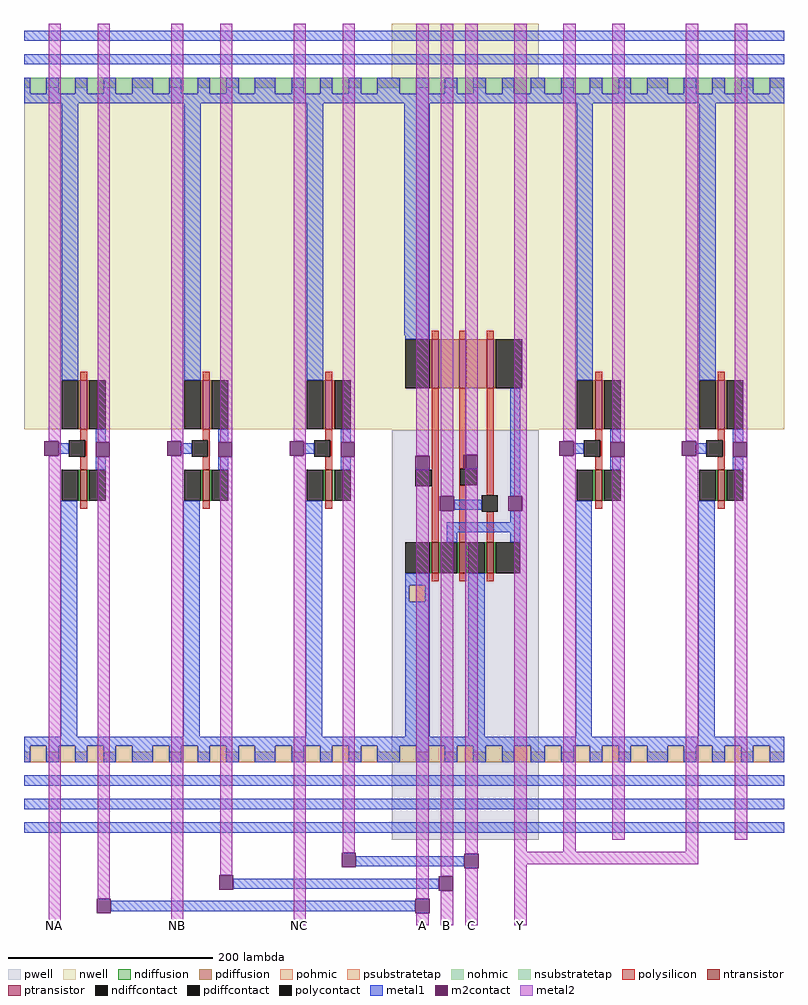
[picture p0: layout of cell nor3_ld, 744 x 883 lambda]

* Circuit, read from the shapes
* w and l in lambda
.subckt nor3_ld A B C GND! NA NB NC Vdd! Y
M1 A NA GND! VSUBS nfet w=30 l=7
M2 B NB GND! VSUBS nfet w=30 l=7
M3 C NC GND! VSUBS nfet w=30 l=7
M4 Y A GND! VSUBS nfet w=30 l=7
M5 GND! C Y VSUBS nfet w=30 l=7
M6 Y B GND! VSUBS nfet w=30 l=7
M7 inv_0/Y Y GND! VSUBS nfet w=30 l=7
M8 inv_1/Y Y GND! VSUBS nfet w=30 l=7
M9 A NA Vdd! n1 pfet w=48 l=7
M10 B NB Vdd! n1 pfet w=48 l=7
M11 C NC Vdd! n1 pfet w=48 l=7
M12 n2 A Vdd! n1 pfet w=48 l=7
M13 n3 C n2 n1 pfet w=48 l=7
M14 Y B n3 n1 pfet w=48 l=7
M15 inv_0/Y Y Vdd! n1 pfet w=48 l=7
M16 inv_1/Y Y Vdd! n1 pfet w=48 l=7
.ends

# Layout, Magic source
magic
tech c035u
<< metal1 >>
rect 325 58 431 68
rect 205 36 406 46
rect 85 14 383 24
<< m2contact >>
rect 311 57 325 71
rect 431 56 445 70
rect 191 35 205 49
rect 406 34 420 48
rect 71 12 85 26
rect 383 12 397 26
<< metal2 >>
rect 24 0 36 84
rect 72 26 84 84
rect 144 0 156 84
rect 192 49 204 84
rect 264 0 276 84
rect 312 71 324 84
rect 384 26 396 84
rect 408 48 420 84
rect 432 70 444 84
rect 480 72 492 84
rect 528 72 540 84
rect 648 72 660 84
rect 480 60 660 72
rect 384 0 396 12
rect 408 0 420 34
rect 432 0 444 56
rect 480 0 492 60
use inv inv_3
transform 1 0 0 0 1 84
box 0 0 120 799
use inv inv_4
transform 1 0 120 0 1 84
box 0 0 120 799
use inv inv_5
transform 1 0 240 0 1 84
box 0 0 120 799
use nor3 nor3_0
transform 1 0 360 0 1 84
box 0 0 144 799
use inv inv_0
transform 1 0 504 0 1 84
box 0 0 120 799
use inv inv_1
transform 1 0 624 0 1 84
box 0 0 120 799
<< labels >>
rlabel metal2 480 0 492 0 1 Y
rlabel metal2 384 0 396 0 1 A
rlabel metal2 408 0 420 0 1 B
rlabel metal2 432 0 444 0 1 C
rlabel metal2 24 0 36 0 1 NA
rlabel metal2 144 0 156 0 1 NB
rlabel metal2 264 0 276 0 1 NC
<< end >>

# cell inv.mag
magic
tech c035u
<< nwell >>
rect 0 402 120 746
<< polysilicon >>
rect 55 450 62 458
rect 55 391 62 402
rect 60 375 62 391
rect 55 362 62 375
rect 55 324 62 332
<< ndiffusion >>
rect 53 332 55 362
rect 62 332 64 362
<< pdiffusion >>
rect 53 402 55 450
rect 62 402 64 450
<< pohmic >>
rect 0 76 6 86
rect 22 76 34 86
rect 50 76 62 86
rect 78 76 90 86
rect 106 76 120 86
<< nohmic >>
rect 0 736 6 746
rect 22 736 34 746
rect 50 736 62 746
rect 78 736 90 746
rect 106 736 120 746
<< ntransistor >>
rect 55 332 62 362
<< ptransistor >>
rect 55 402 62 450
<< polycontact >>
rect 44 375 60 391
<< ndiffcontact >>
rect 37 332 53 362
rect 64 332 80 362
<< pdiffcontact >>
rect 37 402 53 450
rect 64 402 80 450
<< psubstratetap >>
rect 6 76 22 92
rect 34 76 50 92
rect 62 76 78 92
rect 90 76 106 92
<< nsubstratetap >>
rect 6 730 22 746
rect 34 730 50 746
rect 62 730 78 746
rect 90 730 106 746
<< metal1 >>
rect 0 782 120 792
rect 0 759 120 769
rect 0 730 6 746
rect 22 730 34 746
rect 50 730 62 746
rect 78 730 90 746
rect 106 730 120 746
rect 0 721 120 730
rect 37 450 53 721
rect 34 378 44 388
rect 70 389 80 402
rect 70 362 80 375
rect 36 101 52 332
rect 0 92 120 101
rect 0 76 6 92
rect 22 76 34 92
rect 50 76 62 92
rect 78 76 90 92
rect 106 76 120 92
rect 0 53 120 63
rect 0 30 120 40
rect 0 7 120 17
<< m2contact >>
rect 20 376 34 390
rect 70 375 84 389
<< metal2 >>
rect 24 390 36 799
rect 34 376 36 390
rect 72 389 84 799
rect 24 0 36 376
rect 72 0 84 375
<< labels >>
rlabel metal1 0 721 0 746 7 Vdd!
rlabel metal1 0 759 0 769 7 Scan
rlabel metal1 0 782 0 792 6 ScanReturn
rlabel metal1 120 721 120 746 7 Vdd!
rlabel metal1 120 759 120 769 7 Scan
rlabel metal1 120 782 120 792 6 ScanReturn
rlabel metal2 24 799 36 799 5 A
rlabel metal2 72 799 84 799 5 Y
rlabel metal1 0 76 0 101 7 GND!
rlabel metal1 0 53 0 63 7 Clock
rlabel metal1 0 30 0 40 7 Test
rlabel metal1 0 7 0 17 8 nReset
rlabel metal1 120 7 120 17 8 nReset
rlabel metal1 120 30 120 40 7 Test
rlabel metal1 120 53 120 63 7 Clock
rlabel metal1 120 76 120 101 7 GND!
rlabel metal2 24 0 36 0 1 A
rlabel metal2 72 0 84 0 1 Y
<< end >>

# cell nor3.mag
magic
tech c035u
<< nwell >>
rect 0 401 144 799
<< pwell >>
rect 0 0 144 401
<< polysilicon >>
rect 39 490 46 498
rect 66 490 73 498
rect 93 490 100 498
rect 39 291 46 442
rect 66 363 73 442
rect 66 347 67 363
rect 66 291 73 347
rect 93 337 100 442
rect 93 291 100 321
rect 39 253 46 261
rect 66 253 73 261
rect 93 253 100 261
<< ndiffusion >>
rect 37 261 39 291
rect 46 261 48 291
rect 64 261 66 291
rect 73 261 75 291
rect 91 261 93 291
rect 100 261 102 291
<< pdiffusion >>
rect 37 442 39 490
rect 46 442 66 490
rect 73 442 93 490
rect 100 442 102 490
<< pohmic >>
rect 0 76 8 86
rect 24 76 36 86
rect 52 76 64 86
rect 80 76 92 86
rect 108 76 120 86
rect 136 76 144 86
<< nohmic >>
rect 0 736 8 746
rect 24 736 36 746
rect 52 736 64 746
rect 80 736 92 746
rect 108 736 120 746
rect 136 736 144 746
<< ntransistor >>
rect 39 261 46 291
rect 66 261 73 291
rect 93 261 100 291
<< ptransistor >>
rect 39 442 46 490
rect 66 442 73 490
rect 93 442 100 490
<< polycontact >>
rect 23 346 39 362
rect 67 347 83 363
rect 88 321 104 337
<< ndiffcontact >>
rect 13 261 37 291
rect 48 261 64 291
rect 75 261 91 291
rect 102 261 126 291
<< pdiffcontact >>
rect 13 442 37 490
rect 102 442 128 490
<< psubstratetap >>
rect 17 233 33 249
rect 8 76 24 92
rect 36 76 52 92
rect 64 76 80 92
rect 92 76 108 92
rect 120 76 136 92
<< nsubstratetap >>
rect 8 730 24 746
rect 36 730 52 746
rect 64 730 80 746
rect 92 730 108 746
rect 120 730 136 746
<< metal1 >>
rect 0 782 144 792
rect 0 759 144 769
rect 0 730 8 746
rect 24 730 36 746
rect 52 730 64 746
rect 80 730 92 746
rect 108 730 120 746
rect 136 730 144 746
rect 0 721 144 730
rect 12 494 37 721
rect 13 490 37 494
rect 61 323 88 333
rect 116 336 126 442
rect 116 311 126 322
rect 54 301 126 311
rect 54 291 64 301
rect 116 291 126 301
rect 13 249 37 261
rect 13 233 17 249
rect 33 233 37 249
rect 13 101 37 233
rect 75 101 91 261
rect 0 92 144 101
rect 0 76 8 92
rect 24 76 36 92
rect 52 76 64 92
rect 80 76 92 92
rect 108 76 120 92
rect 136 76 144 92
rect 0 53 144 63
rect 0 30 144 40
rect 0 7 144 17
<< m2contact >>
rect 23 362 37 376
rect 70 363 84 377
rect 47 322 61 336
rect 114 322 128 336
<< metal2 >>
rect 24 376 36 799
rect 24 0 36 362
rect 48 336 60 799
rect 72 377 84 799
rect 48 0 60 322
rect 72 0 84 363
rect 120 336 132 799
rect 128 322 132 336
rect 120 0 132 322
<< labels >>
rlabel metal1 144 76 144 101 7 GND!
rlabel metal1 144 53 144 63 7 Clock
rlabel metal1 144 30 144 40 7 Test
rlabel metal1 144 7 144 17 7 nReset
rlabel metal1 0 76 0 101 3 GND!
rlabel metal1 0 53 0 63 3 Clock
rlabel metal1 0 30 0 40 3 Test
rlabel metal1 0 7 0 17 3 nReset
rlabel metal2 120 0 132 0 1 Y
rlabel metal1 144 782 144 792 1 ScanReturn
rlabel metal1 144 759 144 769 1 Scan
rlabel metal1 144 721 144 746 1 Vdd!
rlabel metal1 0 759 0 769 3 Scan
rlabel metal1 0 782 0 792 3 ScanReturn
rlabel metal1 0 721 0 746 3 Vdd!
rlabel metal2 72 799 84 799 5 C
rlabel metal2 120 799 132 799 5 Y
rlabel metal2 48 799 60 799 5 B
rlabel metal2 24 799 36 799 5 A
rlabel metal2 24 0 36 0 1 A
rlabel metal2 48 0 60 0 1 B
rlabel metal2 72 0 84 0 1 C
<< end >>
